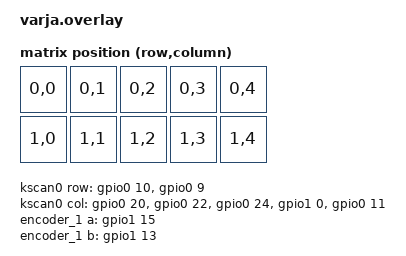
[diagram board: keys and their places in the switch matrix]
#include <dt-bindings/zmk/matrix_transform.h>
#include <common/nordic/nrf52840_uf2_boot_mode.dtsi>
/ {
    chosen {
        zmk,kscan = &kscan0;
        zmk,matrix_transform = &default_transform;
    };

    default_transform: matrix_transform {
        compatible = "zmk,matrix-transform";
        columns = <5>;
        rows = <2>;

        map = <
            RC(0,0) RC(0,1) RC(0,2) RC(0,3) RC(0,4)
            RC(1,0) RC(1,1) RC(1,2) RC(1,3) RC(1,4)
        >;
    };

    kscan0: kscan_0 {
        compatible = "zmk,kscan-gpio-matrix";
        diode-direction = "col2row";
        label = "KSCAN";

        col-gpios = <&gpio0 20 GPIO_ACTIVE_HIGH>,
                    <&gpio0 22 GPIO_ACTIVE_HIGH>,
                    <&gpio0 24 GPIO_ACTIVE_HIGH>,
                    <&gpio1 0 GPIO_ACTIVE_HIGH>,
                    <&gpio0 11 GPIO_ACTIVE_HIGH>;

        row-gpios = <&gpio0 10 (GPIO_ACTIVE_HIGH | GPIO_PULL_DOWN)>,
                    <&gpio0 9  (GPIO_ACTIVE_HIGH | GPIO_PULL_DOWN)>;
    };

    encoder_1: encoder_1 {
        compatible = "alps,ec11";
        label = "ENCODER_1";
        a-gpios = <&gpio1 15 (GPIO_ACTIVE_HIGH | GPIO_PULL_UP)>;
        b-gpios = <&gpio1 13 (GPIO_ACTIVE_HIGH | GPIO_PULL_UP)>;
        steps = <60>;
        status = "okay";
    };

    sensors: sensors {
        compatible = "zmk,keymap-sensors";
        sensors = <&encoder_1>;
        triggers-per-rotation = <30>;
        
    };
};
